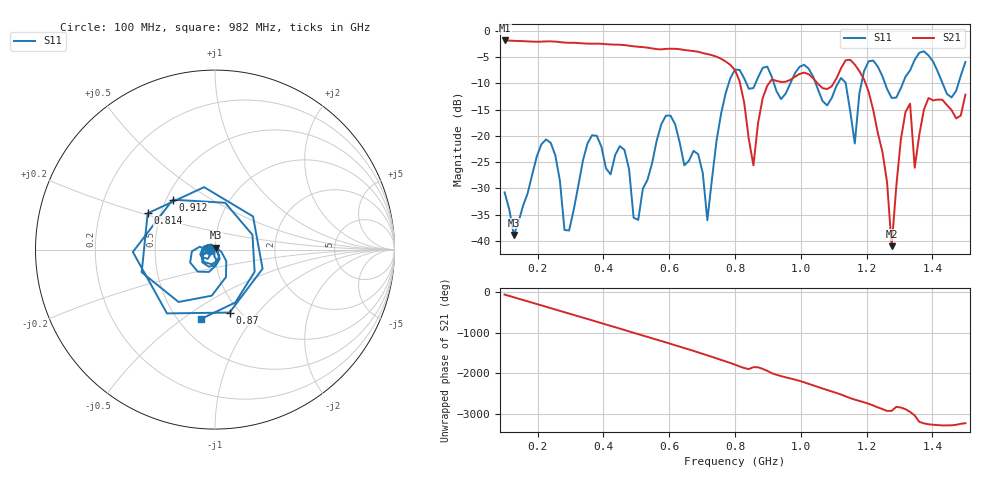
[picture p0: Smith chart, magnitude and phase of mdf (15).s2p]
! NanoVNA-App
! Date: 2025-09-25 15:38:33
! Start: 100MHz Stop: 1,5GHz Points: 101
! S-Parameter data: F S11 S21 S12 S22
# Hz S RI R 50
!  Frequency  S11_Real  S11_Imag  S21_Real  S21_Imag  S12_Real  S12_Imag  S22_Real  S22_Imag
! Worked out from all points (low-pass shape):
!   101 points, 100 MHz to 1.5 GHz, reference 50 ohm
!   highest |S21| = -1.80 dB at 100 MHz (marker M1); lowest = -41.0 dB at 1.276 GHz (marker M2)
!   |S21| within 3 dB of the highest: start of sweep to 739.3 MHz
!   lowest |S11| = -38.9 dB at 128 MHz (marker M3), VSWR 1.02, Z = 50.3 + j1.08 ohm
!   |S11| at or under -10 dB: start of sweep to 780.9 MHz; 918.4 MHz to 968.1 MHz (49.76 MHz wide, 5.28 % of centre); 1.045 GHz to 1.113 GHz (67.28 MHz wide, 6.24 % of centre) (the widest 3 of 7)
!   S12 and S22 are empty: the file has one direction only
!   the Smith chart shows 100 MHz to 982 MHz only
!   S11 on the Smith chart (normalised r, x): 100 MHz: 0.94, -0.01; 814 MHz: 0.42, +0.21; 870 MHz: 0.90, -0.73; 912 MHz: 0.54, +0.35; 982 MHz: 0.64, -0.59
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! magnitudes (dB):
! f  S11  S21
! 100 MHz  -30.8  -1.8
! 128 MHz  -38.9  -1.9
! 212 MHz  -21.6  -2.0
! 282 MHz  -37.9  -2.2
! 338 MHz  -24.7  -2.4
! 464 MHz  -22.7  -2.7
! 506 MHz  -36.0  -3.0
! 576 MHz  -17.8  -3.5
! 716 MHz  -36.1  -4.4
! 800 MHz  -7.4  -7.5
! 814 MHz  -7.4  -9.6
! 856 MHz  -10.9  -25.6
! 870 MHz  -8.9  -17.6
! 912 MHz  -8.8  -9.2
! 982 MHz  -8.1  -8.7
! 1.038 GHz  -8.8  -9.0
! 1.164 GHz  -21.4  -6.4
! 1.192 GHz  -7.7  -9.2
! 1.276 GHz  -12.8  -41.0
! 1.318 GHz  -8.7  -15.5
! 1.346 GHz  -5.5  -26.1
! 1.5 GHz  -5.9  -12.1
